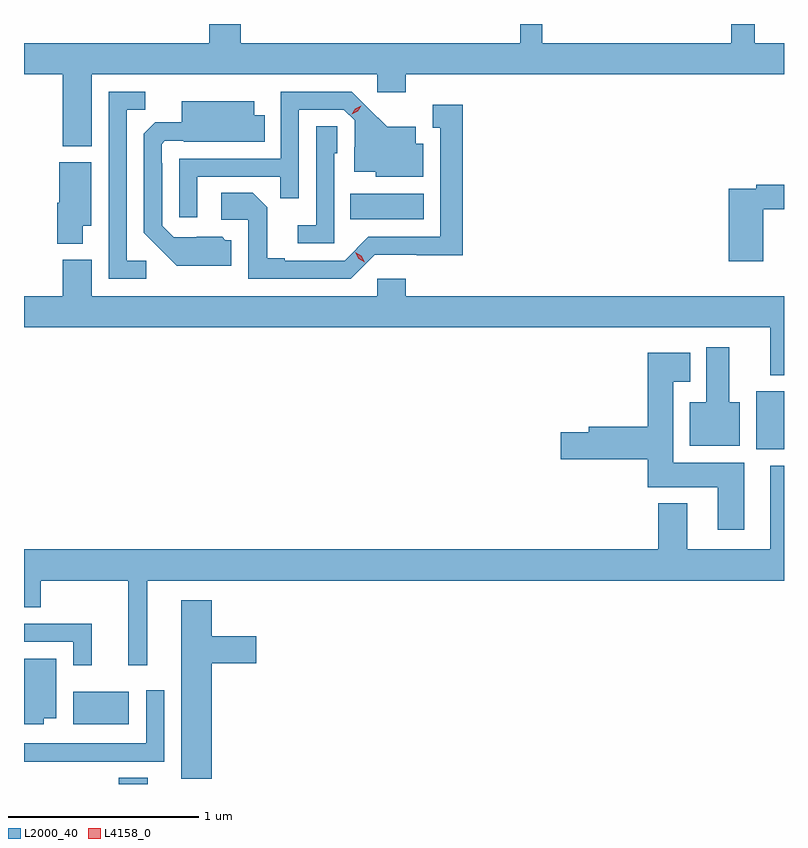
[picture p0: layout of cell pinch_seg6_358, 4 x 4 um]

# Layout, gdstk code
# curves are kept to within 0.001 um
import gdstk
lib = gdstk.Library(unit=1e-6, precision=1e-09)
def R(c, l, rs):  # rectangles x0, y0, x1, y1
    for r in rs: c.add(gdstk.rectangle(r[:2], r[2:], *l))
def P(c, l, *ps):  # polygons
    for p in ps: c.add(gdstk.Polygon(p, *l))
L2000_40 = (2000, 40)
L4158_0 = (4158, 0)

pinch_seg6_358 = lib.new_cell('pinch_seg6_358')
R(pinch_seg6_358, L2000_40, [(637.868,952.925,638.02,952.958), (637.628,953.24,637.921,953.41), (641.225,954.686,641.37,954.991), (639.088,955.898,639.475,956.032)])
P(pinch_seg6_358, L2000_40, [(637.726,956.66),(639.228,956.66),(639.228,956.565),(639.38,956.565),(639.38,956.66),(641.37,956.66),(641.37,956.824),(641.215,956.824),(641.215,956.925),(641.093,956.925),(641.093,956.824),(640.097,956.824),(640.097,956.925),(639.983,956.925),(639.983,956.824),(638.51,956.824),(638.51,956.925),(638.345,956.925),(638.345,956.824),(637.37,956.824),(637.37,956.66),(637.574,956.66),(637.574,956.282),(637.726,956.282)],
  [(638.283,956.121),(638.719,956.121),(638.719,956.008),(638.817,956.008),(638.817,956.475),(639.054,956.475),(639.111,956.418),(639.111,956.276),(639.107,956.276),(639.107,956.147),(639.222,956.147),(639.222,956.12),(639.472,956.12),(639.472,956.296),(639.433,956.296),(639.433,956.383),(639.281,956.383),(639.094,956.568),(638.721,956.568),(638.721,956.217),(638.187,956.217),(638.187,955.908),(638.283,955.908)],
  [(638.014,955.68),(637.911,955.68),(637.911,956.473),(638.007,956.473),(638.007,956.568),(637.815,956.568),(637.815,955.584),(638.014,955.584)],
  [(638.461,955.788),(638.43,955.788),(638.414,955.804),(638.157,955.803),(638.097,955.863),(638.097,956.192),(638.094,956.192),(638.094,956.292),(638.112,956.31),(638.212,956.31),(638.212,956.306),(638.636,956.306),(638.636,956.446),(638.581,956.446),(638.581,956.518),(638.201,956.518),(638.201,956.407),(638.06,956.407),(638.001,956.348),(638.001,955.826),(638.173,955.652),(638.461,955.652)],
  [(639.216,955.71),(639.679,955.709),(639.679,956.5),(639.521,956.5),(639.521,956.379),(639.56,956.379),(639.56,955.806),(639.183,955.806),(639.057,955.68),(638.743,955.68),(638.743,955.693),(638.649,955.693),(638.649,955.96),(638.573,956.036),(638.409,956.036),(638.409,955.896),(638.55,955.896),(638.55,955.584),(639.09,955.584)],
  [(639.003,956.244),(639.018,956.244),(639.018,956.387),(638.907,956.387),(638.907,955.867),(638.811,955.867),(638.811,955.77),(639.003,955.77)],
  [(637.678,955.862),(637.723,955.862),(637.723,956.197),(637.556,956.197),(637.556,955.983),(637.544,955.983),(637.544,955.769),(637.678,955.769)],
  [(641.261,955.95),(641.37,955.95),(641.37,956.078),(641.224,956.078),(641.224,956.058),(641.078,956.058),(641.078,955.677),(641.261,955.677)],
  [(641.37,955.492),(639.38,955.492),(639.38,955.585),(639.228,955.585),(639.228,955.492),(637.726,955.492),(637.726,955.684),(637.574,955.684),(637.574,955.492),(637.37,955.492),(637.37,955.328),(641.297,955.328),(641.297,955.076),(641.37,955.076)],
  [(641.137,954.934),(641.083,954.934),(641.083,955.225),(640.961,955.225),(640.961,954.934),(640.874,954.934),(640.874,954.704),(641.137,954.704)],
  [(641.161,954.616),(640.786,954.616),(640.786,955.043),(640.876,955.043),(640.876,955.195),(640.652,955.195),(640.652,954.806),(640.343,954.806),(640.343,954.776),(640.194,954.776),(640.194,954.634),(640.652,954.634),(640.652,954.488),(641.021,954.488),(641.021,954.264),(641.161,954.264)],
  [(638.018,953.996),(641.37,953.996),(641.37,954.601),(641.297,954.601),(641.297,954.16),(640.861,954.16),(640.861,954.403),(640.709,954.403),(640.709,954.16),(637.37,954.16),(637.37,953.854),(637.458,953.854),(637.458,953.996),(637.919,953.996),(637.919,953.55),(638.018,953.55)],
  [(638.357,953.561),(638.593,953.561),(638.593,953.703),(638.357,953.703),(638.357,953.893),(638.198,953.893),(638.198,952.953),(638.357,952.953)],
  [(637.727,953.769),(637.37,953.769),(637.37,953.673),(637.629,953.673),(637.629,953.55),(637.727,953.55)],
  [(637.474,953.27),(637.54,953.27),(637.54,953.584),(637.37,953.584),(637.37,953.24),(637.474,953.24)],
  [(637.784,953.043),(638.109,953.043),(638.109,953.419),(638.013,953.419),(638.013,953.139),(637.37,953.139),(637.37,953.042),(637.784,953.042)])
P(pinch_seg6_358, L4158_0, [(639.163,955.671),(639.131,955.69),(639.113,955.723),(639.113,955.723),(639.114,955.723),(639.145,955.704),(639.163,955.672),(639.163,955.671)],
  [(639.096,956.449),(639.096,956.45),(639.113,956.479),(639.144,956.494),(639.144,956.494),(639.144,956.494),(639.127,956.465),(639.096,956.449)])

lib.write_gds('pinch_seg6_358.gds')
